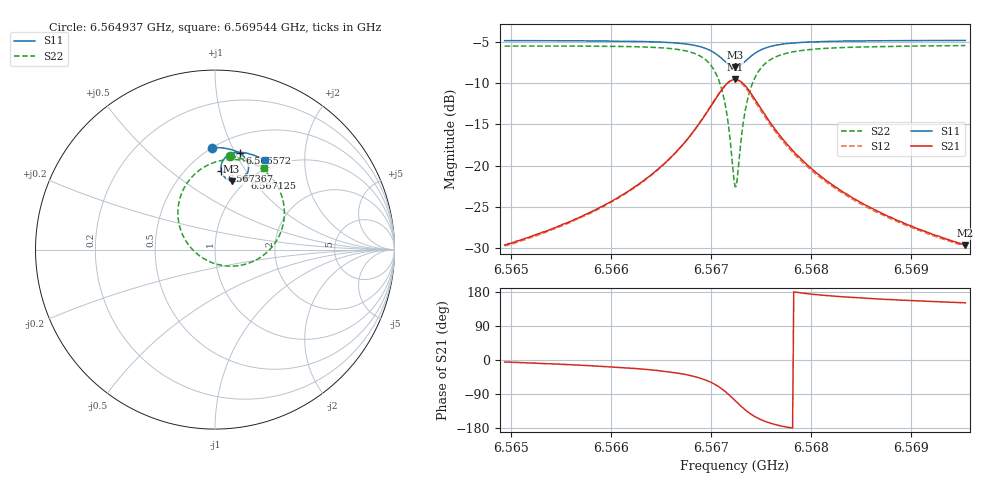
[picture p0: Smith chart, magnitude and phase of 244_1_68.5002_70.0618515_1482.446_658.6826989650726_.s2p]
#  HZ  S  RI  R  50.00
! Rohde & Schwarz Vector Network Analyzer
! Rohde-Schwarz,ZNB20-2Port,1311601062101988,3.16
! Created: UTC 3/20/2024, 5:14:40 PM
! freq[Hz]  re:S11  im:S11  re:S21  im:S21  re:S12  im:S12  re:S22  im:S22
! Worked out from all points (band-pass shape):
!   401 points, 6.564937 GHz to 6.569544 GHz, reference 50 ohm
!   highest |S21| = -9.58 dB at 6.567241 GHz (marker M1); lowest = -29.6 dB at 6.569544 GHz (marker M2)
!   |S21| within 3 dB of the highest: 6.567012 GHz to 6.567472 GHz (459.9 kHz wide, 0.007 % of centre)
!   lowest |S11| = -8.1 dB at 6.567241 GHz (marker M3), VSWR 2.29, Z = 43.7 + j39.3 ohm
!   |S11| at or under -10 dB: nowhere
!   |S22| runs from -22.6 to -5.5 dB; largest |S21 - S12| = 0.017
!   S11 on the Smith chart (normalised r, x): 6.564937 GHz: 0.50, +0.84; 6.566572 GHz: 0.67, +1.04; 6.567125 GHz: 0.94, +0.93; 6.567367 GHz: 0.72, +0.78; 6.569544 GHz: 0.87, +1.29
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6.5649368e9  -0.0175 0.5688  0.0329 -0.00312  0.0324 -0.00353  0.0861 0.5202
6.5657086e9  0.048 0.5655  0.0479 -0.0119  0.0472 -0.0125  0.1659 0.5003
6.5661348e9  0.0884 0.5577  0.0634 -0.0236  0.0624 -0.0243  0.2235 0.4744
6.5664803e9  0.1261 0.5439  0.0847 -0.0455  0.0835 -0.0464  0.2861 0.4298
6.5665725e9  0.1373 0.5376  0.0924 -0.0557  0.0912 -0.0569  0.3066 0.4092
6.5667913e9  0.1665 0.5124  0.1142 -0.0987  0.1126 -0.101  0.3616 0.325
6.5669526e9  0.1851 0.4742  0.1228 -0.1662  0.1195 -0.17  0.3865 0.1952
6.5670563e9  0.183 0.4332  0.1013 -0.2378  0.0943 -0.2426  0.3485 0.059
6.5671254e9  0.1644 0.4019  0.0539 -0.291  0.0426 -0.2948  0.2591 -0.0393
6.5671714e9  0.1402 0.3854  0.00176 -0.3172  -0.0125 -0.3178  0.161 -0.0837
6.5672175e9  0.109 0.3792  -0.0628 -0.3237  -0.0786 -0.3191  0.0429 -0.0886
6.5672406e9  0.0924 0.3812  -0.0963 -0.3174  -0.1115 -0.3099  -0.0162 -0.0727
6.5672636e9  0.0767 0.3868  -0.1276 -0.3044  -0.1415 -0.2944  -0.0705 -0.0453
6.5673212e9  0.0468 0.4127  -0.1878 -0.251  -0.1961 -0.2368  -0.1682 0.058
6.5673673e9  0.0353 0.4387  -0.2118 -0.1997  -0.2157 -0.1852  -0.2019 0.1515
6.5674594e9  0.0386 0.484  -0.2131 -0.1125  -0.2111 -0.1014  -0.1895 0.3035
6.5675976e9  0.0665 0.5211  -0.1756 -0.0406  -0.1716 -0.0346  -0.1093 0.4239
6.5677589e9  0.0989 0.5374  -0.1348 -0.00683  -0.1313 -0.00359  -0.0252 0.4775
6.5680123e9  0.1381 0.542  -0.0944 0.0106  -0.0919 0.012  0.0628 0.5004
6.5683463e9  0.1766 0.5374  -0.0659 0.0162  -0.0642 0.0169  0.135 0.4997
6.568784e9  0.2171 0.5257  -0.0459 0.017  -0.0449 0.0174  0.1972 0.4868
6.5695443e9  0.2763 0.4992  -0.0288 0.0161  -0.0283 0.0161  0.2727 0.456
